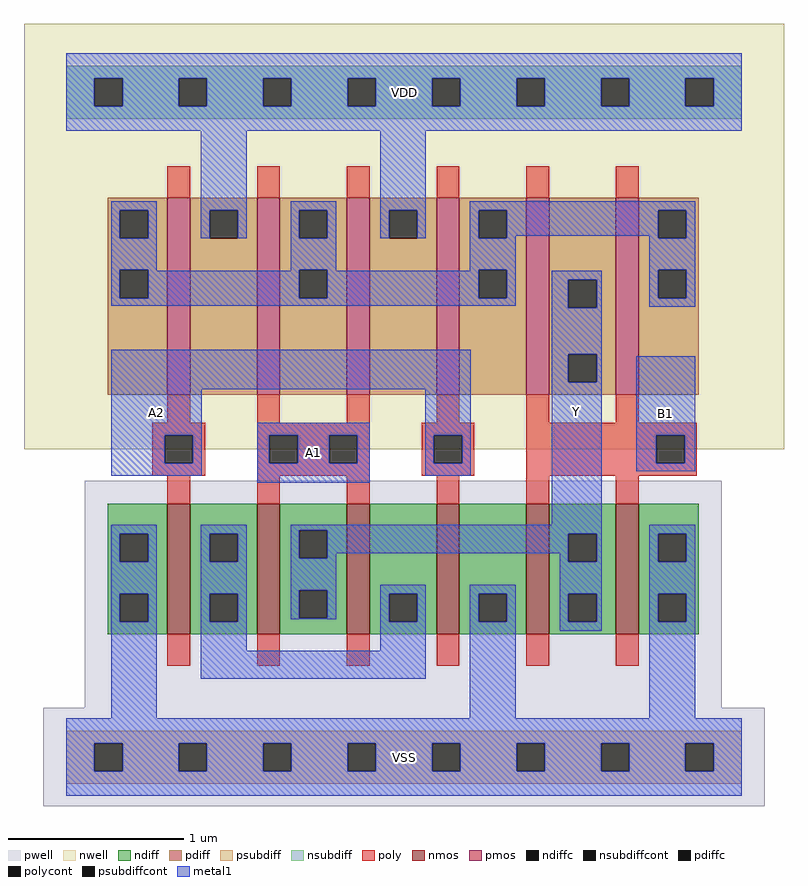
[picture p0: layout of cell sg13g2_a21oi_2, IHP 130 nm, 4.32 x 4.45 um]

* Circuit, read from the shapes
.subckt sg13g2_a21oi_2 Y A2 A1 VSS B1 VDD
XM1 n1 A2 VSS VSS sg13_lv_nmos w=0.74u l=0.13u m=2
XM2 Y A1 n1 VSS sg13_lv_nmos w=0.74u l=0.13u m=2
XM3 Y B1 VSS VSS sg13_lv_nmos w=0.74u l=0.13u m=2
XM4 VDD A2 n2 VDD sg13_lv_pmos w=1.12u l=0.13u m=2
XM5 n2 A1 VDD VDD sg13_lv_pmos w=1.12u l=0.13u m=2
XM6 Y B1 n2 VDD sg13_lv_pmos w=1.12u l=0.13u m=2
.ends

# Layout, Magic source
magic
tech ihp-sg13g2
magscale 1 2
<< nwell >>
rect -48 350 816 834
<< pwell >>
rect 21 56 745 314
rect -26 -56 794 56
<< nmos >>
rect 115 140 141 288
rect 217 140 243 288
rect 319 140 345 288
rect 421 140 447 288
rect 523 140 549 288
rect 625 140 651 288
<< pmos >>
rect 115 412 141 636
rect 217 412 243 636
rect 319 412 345 636
rect 421 412 447 636
rect 523 412 549 636
rect 625 412 651 636
<< ndiff >>
rect 47 254 115 288
rect 47 222 61 254
rect 93 222 115 254
rect 47 186 115 222
rect 47 154 61 186
rect 93 154 115 186
rect 47 140 115 154
rect 141 254 217 288
rect 141 222 163 254
rect 195 222 217 254
rect 141 186 217 222
rect 141 154 163 186
rect 195 154 217 186
rect 141 140 217 154
rect 243 258 319 288
rect 243 226 265 258
rect 297 226 319 258
rect 243 190 319 226
rect 243 158 265 190
rect 297 158 319 190
rect 243 140 319 158
rect 345 186 421 288
rect 345 154 367 186
rect 399 154 421 186
rect 345 140 421 154
rect 447 186 523 288
rect 447 154 469 186
rect 501 154 523 186
rect 447 140 523 154
rect 549 254 625 288
rect 549 222 571 254
rect 603 222 625 254
rect 549 186 625 222
rect 549 154 571 186
rect 603 154 625 186
rect 549 140 625 154
rect 651 254 719 288
rect 651 222 673 254
rect 705 222 719 254
rect 651 186 719 222
rect 651 154 673 186
rect 705 154 719 186
rect 651 140 719 154
<< pdiff >>
rect 47 622 115 636
rect 47 590 61 622
rect 93 590 115 622
rect 47 554 115 590
rect 47 522 61 554
rect 93 522 115 554
rect 47 412 115 522
rect 141 622 217 636
rect 141 590 163 622
rect 195 590 217 622
rect 141 412 217 590
rect 243 622 319 636
rect 243 590 265 622
rect 297 590 319 622
rect 243 554 319 590
rect 243 522 265 554
rect 297 522 319 554
rect 243 412 319 522
rect 345 622 421 636
rect 345 590 367 622
rect 399 590 421 622
rect 345 412 421 590
rect 447 622 523 636
rect 447 590 469 622
rect 501 590 523 622
rect 447 554 523 590
rect 447 522 469 554
rect 501 522 523 554
rect 447 412 523 522
rect 549 543 625 636
rect 549 511 571 543
rect 603 511 625 543
rect 549 458 625 511
rect 549 426 571 458
rect 603 426 625 458
rect 549 412 625 426
rect 651 622 719 636
rect 651 590 673 622
rect 705 590 719 622
rect 651 554 719 590
rect 651 522 673 554
rect 705 522 719 554
rect 651 412 719 522
<< ndiffc >>
rect 61 222 93 254
rect 61 154 93 186
rect 163 222 195 254
rect 163 154 195 186
rect 265 226 297 258
rect 265 158 297 190
rect 367 154 399 186
rect 469 154 501 186
rect 571 222 603 254
rect 571 154 603 186
rect 673 222 705 254
rect 673 154 705 186
<< pdiffc >>
rect 61 590 93 622
rect 61 522 93 554
rect 163 590 195 622
rect 265 590 297 622
rect 265 522 297 554
rect 367 590 399 622
rect 469 590 501 622
rect 469 522 501 554
rect 571 511 603 543
rect 571 426 603 458
rect 673 590 705 622
rect 673 522 705 554
<< psubdiff >>
rect 0 16 768 30
rect 0 -16 32 16
rect 64 -16 128 16
rect 160 -16 224 16
rect 256 -16 320 16
rect 352 -16 416 16
rect 448 -16 512 16
rect 544 -16 608 16
rect 640 -16 704 16
rect 736 -16 768 16
rect 0 -30 768 -16
<< nsubdiff >>
rect 0 772 768 786
rect 0 740 32 772
rect 64 740 128 772
rect 160 740 224 772
rect 256 740 320 772
rect 352 740 416 772
rect 448 740 512 772
rect 544 740 608 772
rect 640 740 704 772
rect 736 740 768 772
rect 0 726 768 740
<< psubdiffcont >>
rect 32 -16 64 16
rect 128 -16 160 16
rect 224 -16 256 16
rect 320 -16 352 16
rect 416 -16 448 16
rect 512 -16 544 16
rect 608 -16 640 16
rect 704 -16 736 16
<< nsubdiffcont >>
rect 32 740 64 772
rect 128 740 160 772
rect 224 740 256 772
rect 320 740 352 772
rect 416 740 448 772
rect 512 740 544 772
rect 608 740 640 772
rect 704 740 736 772
<< poly >>
rect 115 636 141 672
rect 217 636 243 672
rect 319 636 345 672
rect 421 636 447 672
rect 523 636 549 672
rect 625 636 651 672
rect 115 380 141 412
rect 217 380 243 412
rect 319 380 345 412
rect 421 380 447 412
rect 523 380 549 412
rect 625 380 651 412
rect 98 366 158 380
rect 98 334 112 366
rect 144 334 158 366
rect 98 320 158 334
rect 217 366 345 380
rect 217 334 231 366
rect 263 334 299 366
rect 331 334 345 366
rect 217 320 345 334
rect 404 366 464 380
rect 404 334 418 366
rect 450 334 464 366
rect 404 320 464 334
rect 523 366 717 380
rect 523 334 671 366
rect 703 334 717 366
rect 523 320 717 334
rect 115 288 141 320
rect 217 288 243 320
rect 319 288 345 320
rect 421 288 447 320
rect 523 288 549 320
rect 625 288 651 320
rect 115 104 141 140
rect 217 104 243 140
rect 319 104 345 140
rect 421 104 447 140
rect 523 104 549 140
rect 625 104 651 140
<< polycont >>
rect 112 334 144 366
rect 231 334 263 366
rect 299 334 331 366
rect 418 334 450 366
rect 671 334 703 366
<< metal1 >>
rect 0 772 768 800
rect 0 740 32 772
rect 64 740 128 772
rect 160 740 224 772
rect 256 740 320 772
rect 352 740 416 772
rect 448 740 512 772
rect 544 740 608 772
rect 640 740 704 772
rect 736 740 768 772
rect 0 712 768 740
rect 51 622 103 632
rect 51 590 61 622
rect 93 590 103 622
rect 153 622 205 712
rect 153 590 163 622
rect 195 590 205 622
rect 255 622 307 632
rect 255 590 265 622
rect 297 590 307 622
rect 357 622 409 712
rect 357 590 367 622
rect 399 590 409 622
rect 459 622 715 632
rect 459 590 469 622
rect 501 593 673 622
rect 501 590 511 593
rect 51 554 103 590
rect 51 522 61 554
rect 93 553 103 554
rect 255 554 307 590
rect 255 553 265 554
rect 93 522 265 553
rect 297 553 307 554
rect 459 554 511 590
rect 459 553 469 554
rect 297 522 469 553
rect 501 522 511 554
rect 663 590 673 593
rect 705 590 715 622
rect 663 554 715 590
rect 51 513 511 522
rect 552 543 609 553
rect 552 511 571 543
rect 603 511 609 543
rect 663 522 673 554
rect 705 522 715 554
rect 663 512 715 522
rect 51 418 460 463
rect 51 366 154 418
rect 51 334 112 366
rect 144 334 154 366
rect 51 320 154 334
rect 217 366 345 380
rect 217 334 231 366
rect 263 334 299 366
rect 331 334 345 366
rect 217 312 345 334
rect 408 366 460 418
rect 408 334 418 366
rect 450 334 460 366
rect 408 320 460 334
rect 552 458 609 511
rect 552 426 571 458
rect 603 426 609 458
rect 552 264 609 426
rect 648 366 715 456
rect 648 334 671 366
rect 703 334 715 366
rect 648 325 715 334
rect 51 254 103 264
rect 51 222 61 254
rect 93 222 103 254
rect 51 186 103 222
rect 51 154 61 186
rect 93 154 103 186
rect 51 44 103 154
rect 153 254 205 264
rect 153 222 163 254
rect 195 222 205 254
rect 153 186 205 222
rect 153 154 163 186
rect 195 154 205 186
rect 255 258 609 264
rect 255 226 265 258
rect 297 254 609 258
rect 297 232 571 254
rect 297 226 307 232
rect 255 190 307 226
rect 561 222 571 232
rect 603 222 609 254
rect 255 158 265 190
rect 297 158 307 190
rect 255 157 307 158
rect 357 186 409 196
rect 153 121 205 154
rect 357 154 367 186
rect 399 154 409 186
rect 357 121 409 154
rect 153 89 409 121
rect 459 186 511 196
rect 459 154 469 186
rect 501 154 511 186
rect 459 44 511 154
rect 561 186 609 222
rect 561 154 571 186
rect 603 154 609 186
rect 561 144 609 154
rect 663 254 715 264
rect 663 222 673 254
rect 705 222 715 254
rect 663 186 715 222
rect 663 154 673 186
rect 705 154 715 186
rect 663 44 715 154
rect 0 16 768 44
rect 0 -16 32 16
rect 64 -16 128 16
rect 160 -16 224 16
rect 256 -16 320 16
rect 352 -16 416 16
rect 448 -16 512 16
rect 544 -16 608 16
rect 640 -16 704 16
rect 736 -16 768 16
rect 0 -44 768 -16
<< labels >>
flabel metal1 s 552 232 609 553 0 FreeSans 400 0 0 0 Y
port 2 nsew
flabel metal1 s 51 320 154 463 0 FreeSans 400 0 0 0 A2
port 3 nsew
flabel metal1 s 217 312 345 380 0 FreeSans 400 0 0 0 A1
port 4 nsew
flabel metal1 s 0 -44 768 44 0 FreeSans 400 0 0 0 VSS
port 5 nsew
flabel metal1 s 648 325 715 456 0 FreeSans 400 0 0 0 B1
port 6 nsew
flabel metal1 s 0 712 768 800 0 FreeSans 400 0 0 0 VDD
port 7 nsew
<< properties >>
string FIXED_BBOX 0 0 768 756
<< end >>
